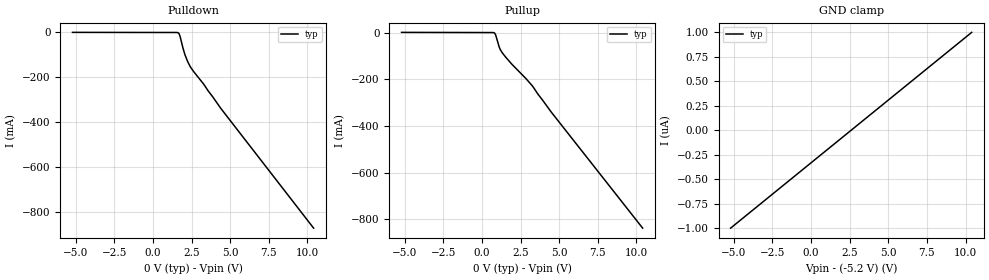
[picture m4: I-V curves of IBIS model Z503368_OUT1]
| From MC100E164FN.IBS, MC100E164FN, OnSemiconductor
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| (C) COPYRIGHT 1993-2000
| MENTOR GRAPHICS CORPORATION
| ICX STANDARD LIBRARY, ICX PROJECT MODELING,
| ICX CUSTOM MODELING, ICX VENDOR MODEL
| ALL RIGHTS RESERVED.
| THE FOLLOWING ARE TRADEMARKS OR SERVICE MARKS OF
| MENTOR GRAPHICS CORPORATION:ICX (R), ICX STANDARD
| LIBRARY(R), ICX PROJECT MODELING(R), ICX CUSTOM
| MODELING(R), qualityIBIS(TM), MODELVIEWER(TM),
| AND MODELEDITOR(TM)
| ALL COPIES OF SOFTWARE, INCLUDING BUT NOT LIMITED TO
| ANY MODIFICATIONS, ENHANCEMENTS OR DERIVATIVE WORKS,
| MUST CONTAIN ALL MENTOR GRAPHICS CORPORATION'S
| NOTICES AND LEGENDS, INCLUDING THOSE EMBEDDED IN
| SOFTWARE AND THOSE AFFIXED TO SOFTWARE MEDIUM
| AND CONTAINER, AS RECEIVED FROM MENTOR GRAPHICS
| CORPORATION.
| Model Application Version 1.89 2/18/99.
[Model] Z503368_OUT1
Model_type Output_ECL
Vref=-2.000V
Rref=50.00ohms
Cref=0.000F
Vmeas=-1.320V
C_comp 8.000pF NA NA
| variable typ   min   max
[Voltage Range] -5.200V NA NA
[POWER Clamp Reference] 0.000V NA NA
[Pullup Reference] 0.000V NA NA
[Pulldown Reference] 0.000V NA NA
[GND Clamp Reference] -5.200V NA NA
[GND Clamp]
-5.2V     -1uA       NA         NA
10.4V     1uA        NA         NA
[Pulldown]
-5.2V     515.8uA    NA         NA
1.661V    -2.598mA   NA         NA
1.765V    -18.82mA   NA         NA
1.948V    -69.7mA    NA         NA
2.072V    -98.6mA    NA         NA
2.258V    -130.9mA   NA         NA
2.432V    -154.2mA   NA         NA
3.291V    -230.8mA   NA         NA
4.39V     -338.2mA   NA         NA
10.4V     -873mA     NA         NA
[Pullup]
-5.2V     725.2uA    NA         NA
824.7mV   -2.523mA   NA         NA
893.6mV   -11.06mA   NA         NA
1.119V    -62.19mA   NA         NA
1.329V    -87.88mA   NA         NA
1.953V    -136.7mA   NA         NA
3.237V    -226.4mA   NA         NA
4.468V    -339.1mA   NA         NA
10.4V     -837.6mA   NA         NA
[POWER Clamp]
-5.2V     0A         NA         NA
10.4V     0A         NA         NA
[Ramp]
| variable typ min max
dV/dt_r 475.6m/267.9p NA NA
dV/dt_f 475.6m/297.3p NA NA
R_load = 500.0Ohms
